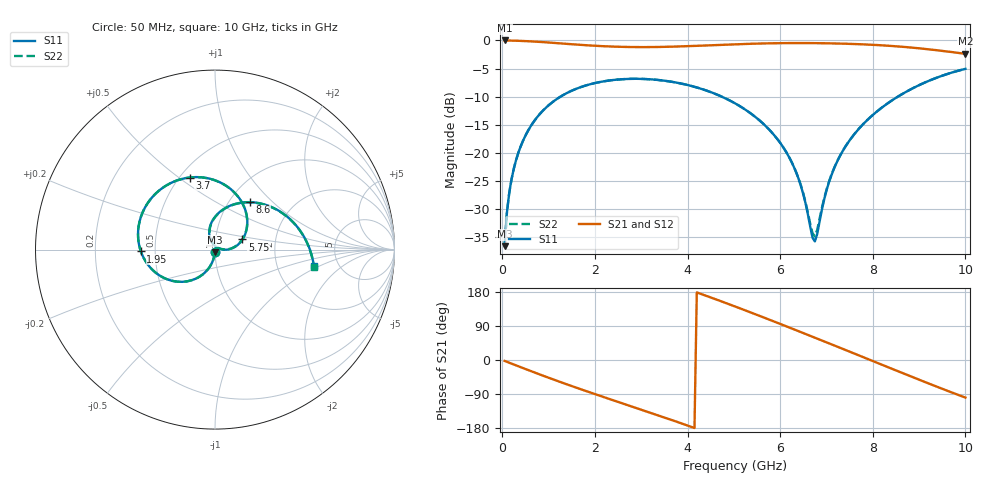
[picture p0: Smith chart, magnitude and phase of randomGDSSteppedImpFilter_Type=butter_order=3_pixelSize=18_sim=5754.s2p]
! freq	dB(S11)	phase(S11)	dB(S12)	phase(S12)
!  dB(S21)	phase(S21)	dB(S22)	phase(S22)
!S-par simulation data
#  GHz  S  DB  R 50
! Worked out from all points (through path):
!   200 points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, 50 MHz to 10 GHz, reference 50 ohm
!   highest |S21| = 0.00 dB at 50 MHz (marker M1); lowest = -2.4 dB at 10 GHz (marker M2)
!   group delay of S21, straight-line fit = 127 ps
!   lowest |S11| = -36.6 dB at 50 MHz (marker M3), VSWR 1.03, Z = 49.9 - j1.48 ohm
!   |S11| at or under -10 dB: start of sweep to 1.256 GHz; 4.739 GHz to 8.541 GHz (3.802 GHz wide, 57.3 % of centre)
!   |S22| runs from -36.6 to -5.1 dB; largest |S21 - S12| = 0
!   S11 on the Smith chart (normalised r, x): 50 MHz: 1.00, -0.03; 1.95 GHz: 0.42, -0.01; 3.7 GHz: 0.56, +0.55; 5.75 GHz: 1.35, +0.16; 8.6 GHz: 1.24, +0.73; 10 GHz: 3.27, -0.88
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0.05  -36.60 -92.5  -0.00 -2.4  -0.00 -2.4  -36.60 -92.5
0.1  -30.61 -95.2  -0.01 -4.8  -0.01 -4.8  -30.61 -95.2
0.2  -24.67 -100.0  -0.03 -9.6  -0.03 -9.6  -24.67 -100.0
0.5  -16.93 -114.2  -0.12 -23.8  -0.12 -23.8  -16.93 -114.2
1.1  -10.87 -141.9  -0.43 -51.3  -0.43 -51.3  -10.87 -141.9
1.75  -8.15 -170.2  -0.82 -79.5  -0.82 -79.5  -8.15 -170.2
1.95  -7.68 -178.6  -0.92 -87.9  -0.92 -87.9  -7.68 -178.6
2.65  -6.87 152.6  -1.16 -116.7  -1.16 -116.7  -6.87 152.7
3.4  -7.06 121.9  -1.16 -147.5  -1.16 -147.5  -7.06 122.0
3.7  -7.41 109.4  -1.10 -160.1  -1.10 -160.1  -7.41 109.5
4.4  -8.89 79.5  -0.89 169.6  -0.89 169.6  -8.89 79.6
5.05  -11.30 50.8  -0.68 140.1  -0.68 140.1  -11.30 51.1
5.75  -15.75 20.2  -0.52 107.3  -0.52 107.3  -15.74 20.7
6.35  -23.57 -0.2  -0.47 78.4  -0.47 78.4  -23.52 1.3
6.7  -35.11 36.7  -0.48 61.4  -0.48 61.4  -34.33 39.0
6.75  -35.74 62.1  -0.48 58.9  -0.48 58.9  -34.83 61.8
7.05  -25.34 114.4  -0.51 44.2  -0.51 44.2  -25.23 112.5
7.35  -19.69 108.2  -0.57 29.5  -0.57 29.5  -19.66 107.2
8.35  -11.03 65.5  -0.95 -20.0  -0.95 -20.0  -11.02 65.0
8.6  -9.71 54.0  -1.10 -32.4  -1.10 -32.4  -9.70 53.6
9.3  -6.88 21.7  -1.66 -66.5  -1.66 -66.5  -6.88 21.4
10  -5.05 -9.6  -2.38 -99.2  -2.38 -99.2  -5.05 -9.8
